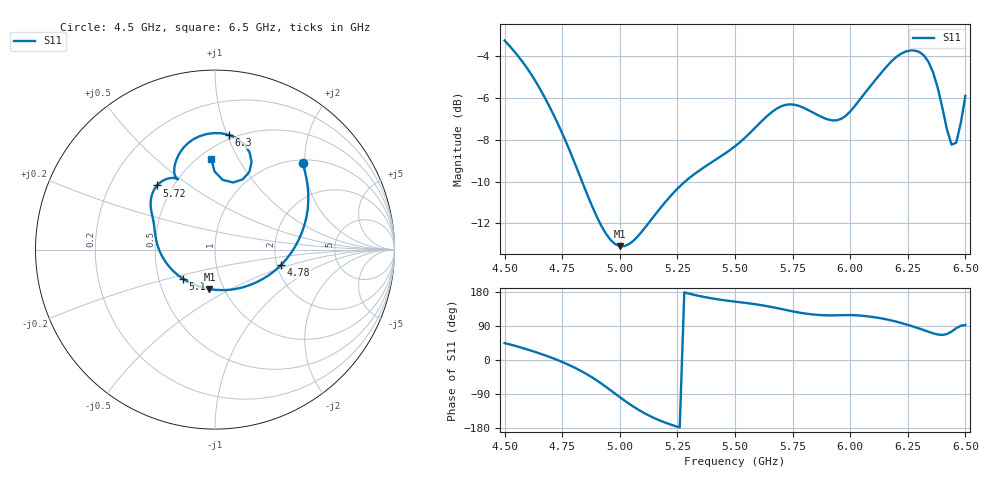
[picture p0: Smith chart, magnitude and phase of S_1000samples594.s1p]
! TOUCHSTONE file generated by CST MICROWAVE STUDIO
! Date and time: Fri Oct 28 17:22:22 2022
! Project name: L.cst
! Parameters = {Di=1.27; Epsilon_r=1.56; InnerDiameter=1.27; Length=2; Lf=10; Lg=60; OuterConductorThickness=0.2921; OuterDiameter=3.6; Wf=3; Wp=41.2; de=1.5; df=6.8; g=0.8; gx=2.59692; gy=1.0212; h=2.34; hf=1.524; px=13.548; py=11.3762; w=9.7; wx=10.951; wy=10.355}
! Header version: 2018
! Port assignment regex: !\s*Touchstone port\s*([0-9]+)\s*=\s*(CST MWS port|CST DS port)\s*([0-9]+|Zmin|Zmax)\s*\(\"(.*)\"\)(\s*mode\s*([0-9]+))?.*
! Touchstone port assignment:
! Touchstone port 1 = CST MWS port 1 ("")
# GHz S DB R 50
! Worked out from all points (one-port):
!   101 points, 4.5 GHz to 6.5 GHz, reference 50 ohm
!   lowest |S11| = -13.1 dB at 5 GHz (marker M1), VSWR 1.57, Z = 42.8 - j19.8 ohm
!   |S11| at or under -10 dB: 4.836 GHz to 5.284 GHz (447.4 MHz wide, 8.84 % of centre)
!   S11 on the Smith chart (normalised r, x): 4.5 GHz: 1.07, +1.95; 4.78 GHz: 2.10, -0.43; 5.1 GHz: 0.66, -0.23; 5.72 GHz: 0.41, +0.38; 6.3 GHz: 0.47, +1.02; 6.5 GHz: 0.57, +0.78
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4.5  -3.28 44.7
4.62  -4.97 23.7
4.68  -6.12 11.4
4.76  -7.95 -7.8
4.78  -8.46 -13.3
4.88  -11.18 -46.0
4.94  -12.49 -70.9
5  -13.08 -98.0
5.1  -12.33 -138.0
5.18  -11.21 -161.2
5.26  -10.24 -178.0
5.5  -8.32 154.0
5.64  -6.87 142.0
5.72  -6.35 132.1
5.76  -6.34 127.2
5.88  -6.94 118.3
6  -6.66 118.5
6.08  -5.56 114.9
6.14  -4.75 109.3
6.2  -4.07 101.2
6.26  -3.75 90.8
6.3  -3.82 83.0
6.34  -4.30 74.5
6.38  -5.53 67.3
6.4  -6.49 66.2
6.44  -8.24 74.9
6.46  -8.15 83.8
6.5  -5.92 92.3
